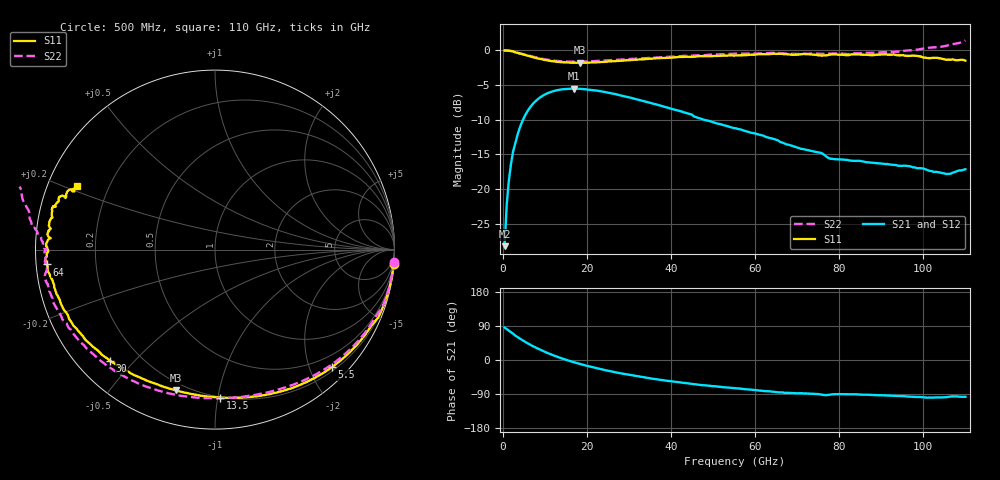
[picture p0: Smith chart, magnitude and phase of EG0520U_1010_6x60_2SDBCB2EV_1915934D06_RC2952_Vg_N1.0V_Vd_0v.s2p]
!File name = EG0520U_1010_6x60_2SDBCB2EV_1915934D06_RC2952_Vg_N1.0V_Vd_0v.s2p
!Base file name = EG0520U_1010_6x60_2SDBCB2EV_1915934D06_RC2952
!Date = 8/23/2019
!Time = 1:13 PM
!Test duration(min) = 0.15
!Test = S-Parameters
!MPTS version = 8.91.5
!State File = C:\Data\PNA\20190821205423\S-Parameters_2019-08-23.sta
!Cal File =
!ComputerName = CMPE-LAB-6
!Comments =
!Attenuation = 0
!Z0 = 50
!Input Power(dBm) = -13.00
!Device ID = EG0520U_1010_6x60_2SDBCB2EV
!Row = 29
!Column = 52
!Technology = QPHT09
!Lot/Wafer = 1915934D06
!Gate Size = 360
!Mask = EG0520
!Cal Standards = GaAs BCB
!Cal Kit = EG2306
!Job Number = 20190821205423
!Device Type = FET
!set_Vg(v) = -1.000
!set_Vd(v) = 0.000
!file_name = EG0520U_1010_6x60_2SDBCB2EV_1915934D06_RC2952_Vg_N1.0V_Vd_0v.s2p
!Vd(V) = 0.000
!Vd(mA) = 0.002
!Vg(V) = -1.000
!Vg(mA) = -0.000
# GHz  S  DB  R  50
!%	Freq(GHz)  s11(dB)  s11(deg)  s21(dB)  s21(deg)  s12(dB)  s12(deg)  s22(dB)  s22(deg)
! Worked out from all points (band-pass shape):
!   220 points, 500 MHz to 110 GHz, reference 50 ohm
!   highest |S21| = -5.53 dB at 17 GHz (marker M1); lowest = -28.3 dB at 500 MHz (marker M2)
!   |S21| within 3 dB of the highest: 6.213 GHz to 40.73 GHz (34.52 GHz wide, 147 % of centre)
!   lowest |S11| = -1.8 dB at 18.5 GHz (marker M3), VSWR 9.74, Z = 8.03 - j37.3 ohm
!   |S11| at or under -10 dB: nowhere
!   |S22| runs from -1.6 to 1.4 dB; largest |S21 - S12| = 0.0046
!   S11 on the Smith chart (normalised r, x): 500 MHz: 0, -25; 5.5 GHz: 0.27, -2.39; 13.5 GHz: 0.20, -1.02; 30 GHz: 0.09, -0.43; 64 GHz: 0.03, -0.04; 110 GHz: 0.09, +0.22
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0.5  -0.00 -4.6  -28.27 85.6  -28.27 85.7  -0.01 -3.9
1  -0.02 -9.1  -22.30 81.5  -22.30 81.5  -0.03 -7.8
2  -0.08 -18.1  -16.44 73.4  -16.44 73.4  -0.09 -15.5
3.5  -0.34 -30.0  -12.34 61.1  -12.35 61.0  -0.33 -25.7
5.5  -0.68 -45.0  -9.24 47.1  -9.25 47.1  -0.64 -38.7
9  -1.24 -66.8  -6.77 26.8  -6.78 26.8  -1.16 -57.7
13.5  -1.68 -88.0  -5.69 6.5  -5.70 6.5  -1.55 -77.1
17  -1.78 -100.9  -5.53 -6.0  -5.54 -6.1  -1.63 -89.4
18.5  -1.79 -105.7  -5.56 -10.7  -5.57 -10.8  -1.62 -94.2
19  -1.78 -107.2  -5.58 -12.3  -5.59 -12.3  -1.62 -95.7
24  -1.66 -120.6  -5.98 -25.9  -6.00 -26.0  -1.48 -109.6
30  -1.40 -133.3  -6.77 -39.0  -6.78 -39.1  -1.26 -123.4
37  -1.11 -145.2  -7.88 -51.4  -7.90 -51.6  -1.01 -136.7
45.5  -0.91 -157.3  -9.54 -63.9  -9.57 -64.1  -0.74 -150.3
55.5  -0.73 -168.0  -11.26 -74.4  -11.32 -74.8  -0.47 -161.7
64  -0.52 -175.0  -12.71 -83.5  -12.76 -83.8  -0.36 -169.6
73.5  -0.59 177.1  -14.54 -89.2  -14.55 -89.4  -0.44 -175.9
78  -0.59 175.3  -15.64 -91.0  -15.65 -91.0  -0.46 -178.1
92  -0.63 165.1  -16.48 -94.0  -16.52 -94.0  -0.23 175.8
100.5  -1.04 160.6  -17.17 -98.9  -17.19 -99.0  0.29 171.7
106.5  -1.35 157.8  -17.81 -96.3  -17.79 -97.1  0.82 166.0
110  -1.48 155.4  -17.17 -97.0  -17.17 -97.3  1.44 160.3
